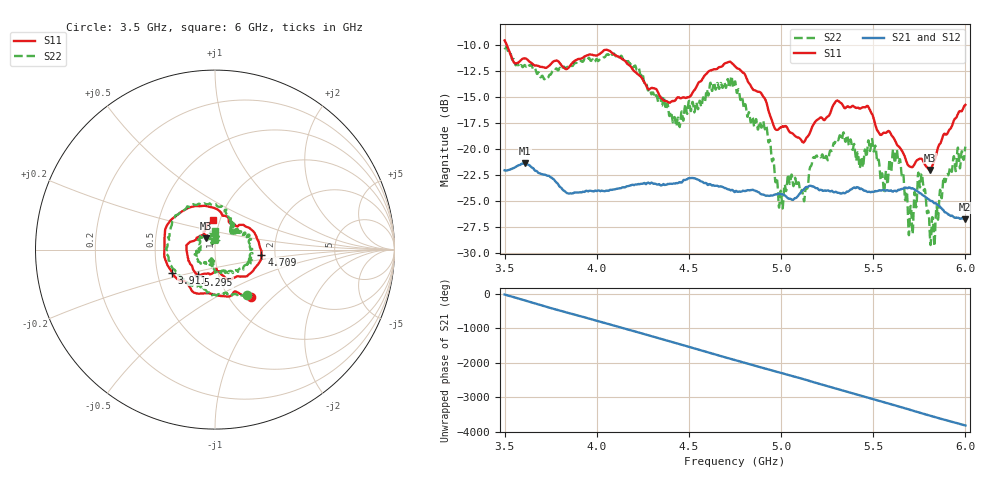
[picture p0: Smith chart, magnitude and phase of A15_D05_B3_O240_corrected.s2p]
! Created with skrf 1.9.0 (http://scikit-rf.org).
# Hz S RI R 50.0
!freq ReS11 ImS11 ReS21 ImS21 ReS12 ImS12 ReS22 ImS22
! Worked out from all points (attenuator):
!   1601 points, 3.5 GHz to 6 GHz, reference 50 ohm
!   highest |S21| = -21.37 dB at 3.609 GHz (marker M1); lowest = -26.8 dB at 5.998 GHz (marker M2)
!   lowest |S11| = -22.0 dB at 5.806 GHz (marker M3), VSWR 1.17, Z = 45 + j5.68 ohm
!   |S11| at or under -10 dB: 3.512 GHz to end of sweep
!   |S22| runs from -29.3 to -10.2 dB; largest |S21 - S12| = 0.0009
!   S11 on the Smith chart (normalised r, x): 3.5 GHz: 1.25, -0.75; 3.911 GHz: 0.60, -0.17; 4.709 GHz: 1.69, -0.11; 5.295 GHz: 0.80, -0.23; 6 GHz: 0.93, +0.31
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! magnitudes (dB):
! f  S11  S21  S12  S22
! 3.5 GHz  -9.6  -22.1  -22.0  -10.3
! 3.609 GHz  -11.3  -21.4  -21.4  -11.9
! 3.911 GHz  -11.3  -24.2  -24.1  -11.6
! 3.917 GHz  -11.3  -24.2  -24.2  -11.5
! 4.123 GHz  -11.2  -23.8  -23.8  -11.2
! 4.334 GHz  -14.6  -23.4  -23.4  -15.5
! 4.441 GHz  -15.0  -23.3  -23.2  -17.0
! 4.709 GHz  -11.7  -23.9  -23.8  -13.3
! 4.75 GHz  -12.1  -24.1  -24.1  -13.5
! 4.912 GHz  -15.2  -24.5  -24.4  -18.1
! 4.998 GHz  -17.9  -24.3  -24.3  -24.0
! 5.047 GHz  -18.4  -24.8  -24.8  -23.4
! 5.13 GHz  -19.2  -23.8  -23.8  -24.3
! 5.167 GHz  -17.9  -23.6  -23.6  -21.4
! 5.295 GHz  -15.5  -24.1  -24.1  -19.3
! 5.584 GHz  -18.3  -24.0  -24.0  -21.6
! 5.636 GHz  -19.7  -23.9  -23.9  -21.2
! 5.703 GHz  -21.7  -23.8  -23.8  -25.5
! 5.756 GHz  -20.9  -24.3  -24.2  -23.5
! 5.806 GHz  -22.0  -24.9  -24.9  -28.0
! 5.998 GHz  -15.8  -26.8  -26.7  -19.9
! 6 GHz  -15.8  -26.7  -26.7  -19.8
